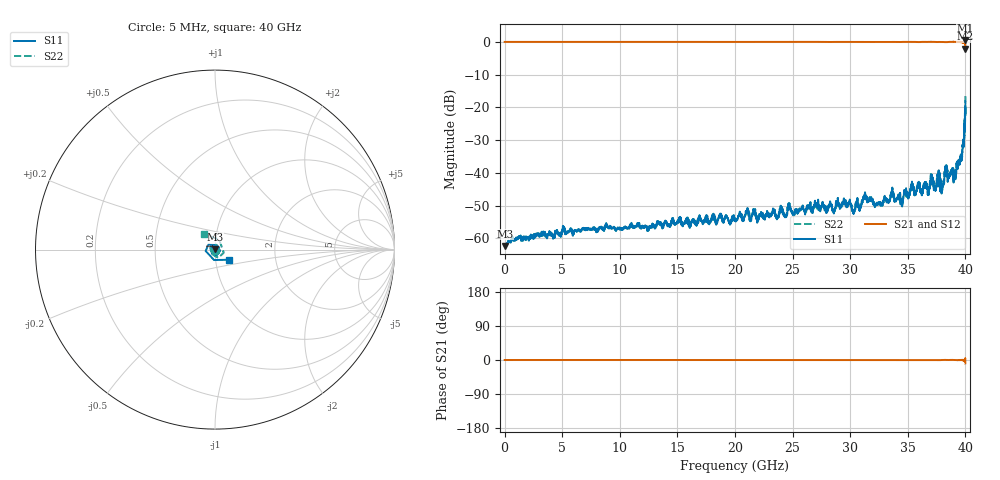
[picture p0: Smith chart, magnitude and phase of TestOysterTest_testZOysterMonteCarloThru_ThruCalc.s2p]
# MHz MA S R 50.0
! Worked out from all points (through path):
!   8000 points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, 5 MHz to 40 GHz, reference 50 ohm
!   highest |S21| = 0.45 dB at 39.97 GHz (marker M1); lowest = -2.1 dB at 40 GHz (marker M2)
!   lowest |S11| = -62.3 dB at 20 MHz (marker M3), VSWR 1.00, Z = 50 + j0.0604 ohm
!   |S11| at or under -10 dB: start of sweep to end of sweep
!   |S22| runs from -62.3 to -16.5 dB; largest |S21 - S12| = 0.0012
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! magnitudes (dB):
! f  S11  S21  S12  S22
! 5 MHz  -62.2  0.0  0.0  -62.3
! 20 MHz  -62.3  0.0  0.0  -62.3
! 6.675 GHz  -57.6  0.0  0.0  -57.4
! 13.34 GHz  -55.5  0.0  0.0  -55.3
! 20 GHz  -54.5  0.0  0.0  -54.4
! 26.67 GHz  -51.7  0.0  0.0  -51.6
! 29.47 GHz  -48.7  0.0  0.0  -49.0
! 30.27 GHz  -51.7  0.0  0.0  -51.8
! 31.25 GHz  -47.2  0.0  0.0  -47.5
! 32.25 GHz  -49.7  0.0  0.0  -49.5
! 33.34 GHz  -49.0  0.0  0.0  -48.8
! 33.62 GHz  -46.1  0.0  0.0  -46.1
! 34.48 GHz  -48.6  0.0  0.0  -48.9
! 35.34 GHz  -43.4  0.0  0.0  -43.4
! 36.77 GHz  -46.4  0.0  0.0  -46.4
! 37.05 GHz  -41.5  0.0  0.0  -41.7
! 37.98 GHz  -44.8  0.0  0.0  -44.9
! 38.3 GHz  -40.8  -0.1  -0.1  -40.7
! 39.02 GHz  -40.5  0.0  0.0  -40.3
! 39.68 GHz  -35.2  0.0  0.0  -34.7
! 39.97 GHz  -22.7  0.4  0.5  -22.2
! 40 GHz  -18.2  -2.1  -2.0  -16.5
